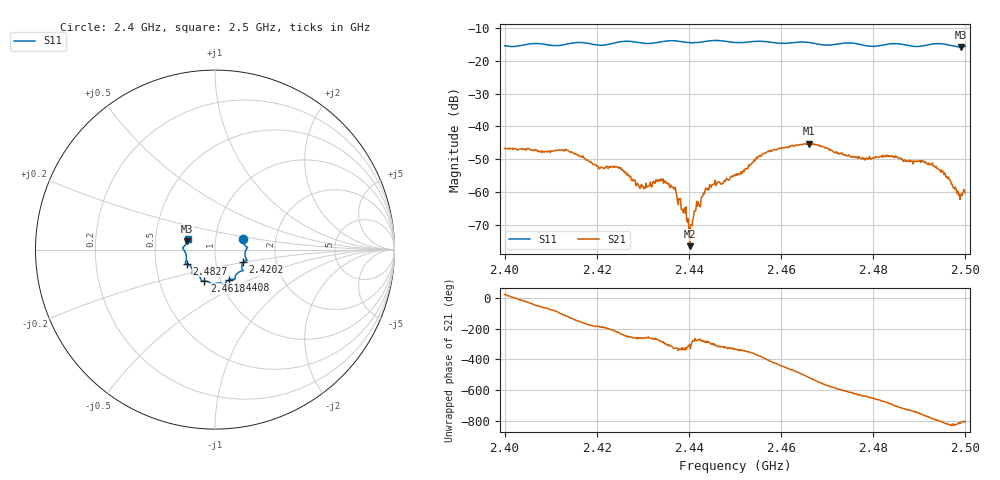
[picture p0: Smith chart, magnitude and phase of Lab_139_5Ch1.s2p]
# Hz S RI R 50
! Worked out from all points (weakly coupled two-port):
!   601 points, 2.4 GHz to 2.5 GHz, reference 50 ohm
!   highest |S21| = -45.24 dB at 2.466 GHz (marker M1); lowest = -76.3 dB at 2.4402 GHz (marker M2)
!   lowest |S11| = -15.8 dB at 2.499 GHz (marker M3), VSWR 1.39, Z = 36.5 + j3.53 ohm
!   |S11| at or under -10 dB: start of sweep to end of sweep
!   S12 and S22 are empty: the file has one direction only
!   S11 on the Smith chart (normalised r, x): 2.4 GHz: 1.36, +0.17; 2.4202 GHz: 1.36, -0.20; 2.4408 GHz: 1.10, -0.39; 2.4618 GHz: 0.84, -0.30; 2.4827 GHz: 0.72, -0.12; 2.5 GHz: 0.73, +0.09
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2.4e9  0.156 0.0617  0.00435 0.00163  0 0  0 0
2.4135e9  0.1713 -0.0462  -0.00225 -0.00373  0 0  0 0
2.416667e9  0.178 -0.0593  -0.00331 -0.00125  0 0  0 0
2.420167e9  0.1568 -0.0706  -0.00248 0.000251  0 0  0 0
2.424833e9  0.1546 -0.113  -0.00156 0.00173  0 0  0 0
2.429833e9  0.1367 -0.1229  -0.000121 0.00124  0 0  0 0
2.433333e9  0.1119 -0.152  0.00013 0.00148  0 0  0 0
2.436667e9  0.1096 -0.1666  0.00102 0.000616  0 0  0 0
2.440167e9  0.0857 -0.1662  8.7e-05 0.000125  0 0  0 0
2.440833e9  0.0789 -0.1689  5.74e-05 0.000371  0 0  0 0
2.444e9  0.056 -0.1891  0.000239 0.00113  0 0  0 0
2.45e9  0.0279 -0.1859  0.00161 0.000793  0 0  0 0
2.456667e9  -0.017 -0.1932  0.00316 -0.00235  0 0  0 0
2.461833e9  -0.0602 -0.1749  -0.00117 -0.00488  0 0  0 0
2.466e9  -0.076 -0.172  -0.00503 -0.00215  0 0  0 0
2.466667e9  -0.0769 -0.1685  -0.00524 -0.00137  0 0  0 0
2.477667e9  -0.1254 -0.1183  0.000352 0.00336  0 0  0 0
2.482667e9  -0.1571 -0.0779  0.00255 0.00256  0 0  0 0
2.483333e9  -0.1613 -0.0764  0.00285 0.00206  0 0  0 0
2.493167e9  -0.1791 0.00532  0.001 -0.00227  0 0  0 0
2.499e9  -0.1545 0.0471  -4.75e-05 -0.000911  0 0  0 0
2.5e9  -0.152 0.0616  0.000127 -0.00099  0 0  0 0
